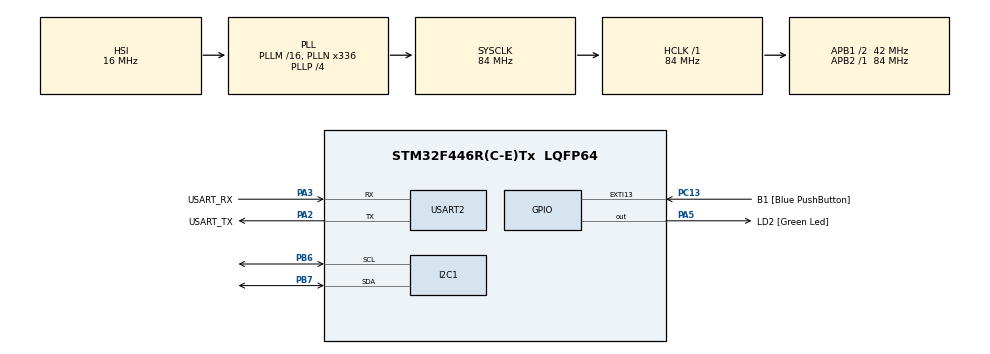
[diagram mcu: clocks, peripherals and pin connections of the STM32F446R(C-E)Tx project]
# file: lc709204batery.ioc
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I2C1.I2C_Mode=I2C_Fast
Mcu.Family=STM32F4
Mcu.Name=STM32F446R(C-E)Tx
Mcu.Package=LQFP64
NVIC.PriorityGroup=NVIC_PRIORITYGROUP_0
PA13.GPIO_Label=TMS
PA13.Mode=Serial_Wire
PA13.Signal=SYS_JTMS-SWDIO
PA14.GPIO_Label=TCK
PA14.Mode=Serial_Wire
PA14.Signal=SYS_JTCK-SWCLK
PA2.GPIO_Label=USART_TX
PA2.Mode=Asynchronous
PA2.Signal=USART2_TX
PA3.GPIO_Label=USART_RX
PA3.Mode=Asynchronous
PA3.Signal=USART2_RX
PA5.GPIO_Label=LD2 [Green Led]
PA5.Signal=GPIO_Output
PB3.GPIO_Label=SWO
PB3.Signal=SYS_JTDO-SWO
PB6.Mode=I2C
PB6.Signal=I2C1_SCL
PB7.Mode=I2C
PB7.Signal=I2C1_SDA
PC13.GPIO_Label=B1 [Blue PushButton]
PC13.GPIO_ModeDefaultEXTI=GPIO_MODE_IT_FALLING
PC13.Signal=GPXTI13
PC14-OSC32_IN.Mode=LSE-External-Oscillator
PC14-OSC32_IN.Signal=RCC_OSC32_IN
PC15-OSC32_OUT.Mode=LSE-External-Oscillator
PC15-OSC32_OUT.Signal=RCC_OSC32_OUT
PH0-OSC_IN.Mode=HSE-External-Oscillator
PH0-OSC_IN.Signal=RCC_OSC_IN
PH1-OSC_OUT.Mode=HSE-External-Oscillator
PH1-OSC_OUT.Signal=RCC_OSC_OUT
ProjectManager.HeapSize=0x200
ProjectManager.StackSize=0x400
ProjectManager.TargetToolchain=MDK-ARM V5.27
RCC.48MHZClocksFreq_Value=84000000
RCC.AHBFreq_Value=84000000
RCC.APB1CLKDivider=RCC_HCLK_DIV2
RCC.APB1Freq_Value=42000000
RCC.APB1TimFreq_Value=84000000
RCC.APB2Freq_Value=84000000
RCC.APB2TimFreq_Value=84000000
RCC.CortexFreq_Value=84000000
RCC.FLatency-AdvancedSettings=FLASH_LATENCY_2
RCC.HCLKFreq_Value=84000000
RCC.HSE_VALUE=8000000
RCC.HSI_VALUE=16000000
RCC.PLLN=336
RCC.PLLP=RCC_PLLP_DIV4
RCC.SYSCLKFreq_VALUE=84000000
RCC.SYSCLKSource=RCC_SYSCLKSOURCE_PLLCLK
RCC.USBFreq_Value=168000000
RCC.VCOOutputFreq_Value=336000000
USART2.VirtualMode=VM_ASYNC
board=NUCLEO-F446RE

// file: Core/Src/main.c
/* USER CODE BEGIN Header */
/**
  ******************************************************************************
  * @file           : main.c
  * @brief          : Main program body
  ******************************************************************************
  * @attention
  *
  * Copyright (c) 2023 STMicroelectronics.
  * All rights reserved.
  *
  * This software is licensed under terms that can be found in the LICENSE file
  * in the root directory of this software component.
  * If no LICENSE file comes with this software, it is provided AS-IS.
  *
  ******************************************************************************
  */
/* USER CODE END Header */
#include "main.h"
#include "stdbool.h"
#include "lc709.h"

I2C_HandleTypeDef hi2c1;

UART_HandleTypeDef huart2;

/* USER CODE BEGIN PV */

float		 voltage;
uint16_t timeEmpty;
uint16_t timeFull;
uint16_t pillPercent;
uint16_t stateHealth;
uint16_t circuitTemp;
uint16_t current;
/* USER CODE END PV */

void SystemClock_Config(void);
static void MX_GPIO_Init(void);
static void MX_I2C1_Init(void);
static void MX_USART2_UART_Init(void);

int main(void)

{

  /* MCU Configuration--------------------------------------------------------*/

  /* Reset of all peripherals, Initializes the Flash interface and the Systick. */
  HAL_Init();

  /* Configure the system clock */
  SystemClock_Config();

  /* Initialize all configured peripherals */
  MX_GPIO_Init();
  MX_I2C1_Init();
  MX_USART2_UART_Init();
  /* USER CODE BEGIN 2 */

		 for(int i=0; i<3; i++){
			HAL_GPIO_TogglePin(LD2_GPIO_Port, LD2_Pin);
			HAL_Delay(500);
		 }
	initRSOC();
  currentDirection(LC709204F_AUTO_MODE);
//	setPackAPA(0x2121);
	setPackSize(LC709204F_APA_500MAH);
  setBattProfile(0x0000);
  setAlarmRSOC(0x000F);
	setAlarmVoltage(2.9);
	setPowerMode(LC709204F_POWER_OPERATE);
  setTemperatureMode(LC709204F_TEMPERATURE_THERMISTOR);
	emptyCellVoltage(0x0000);
	setThermistorB(0x0F6E);
  /* USER CODE END 2 */

  /* Infinite loop */
  /* USER CODE BEGIN WHILE */
  while (1)
  {

		timeEmpty=timeToEmpty();
		timeFull=timeToFull();
		voltage=cellVoltage();
		pillPercent=cellPercent();
		circuitTemp=getCellTemperature();
		stateHealth=getStateOfHealth();
		readWord(LC709204F_CURRENT_DIR, &current);
		HAL_Delay(1000);

    /* USER CODE END WHILE */

  }
}

void SystemClock_Config(void)
{
  RCC_OscInitTypeDef RCC_OscInitStruct = {0};
  RCC_ClkInitTypeDef RCC_ClkInitStruct = {0};

  /** Configure the main internal regulator output voltage
  */
  __HAL_RCC_PWR_CLK_ENABLE();
  __HAL_PWR_VOLTAGESCALING_CONFIG(PWR_REGULATOR_VOLTAGE_SCALE3);

  /** Initializes the RCC Oscillators according to the specified parameters
  * in the RCC_OscInitTypeDef structure.
  */
  RCC_OscInitStruct.OscillatorType = RCC_OSCILLATORTYPE_HSI;
  RCC_OscInitStruct.HSIState = RCC_HSI_ON;
  RCC_OscInitStruct.HSICalibrationValue = RCC_HSICALIBRATION_DEFAULT;
  RCC_OscInitStruct.PLL.PLLState = RCC_PLL_ON;
  RCC_OscInitStruct.PLL.PLLSource = RCC_PLLSOURCE_HSI;
  RCC_OscInitStruct.PLL.PLLM = 16;
  RCC_OscInitStruct.PLL.PLLN = 336;
  RCC_OscInitStruct.PLL.PLLP = RCC_PLLP_DIV4;
  RCC_OscInitStruct.PLL.PLLQ = 2;
  RCC_OscInitStruct.PLL.PLLR = 2;
  if (HAL_RCC_OscConfig(&RCC_OscInitStruct) != HAL_OK)
  {
    Error_Handler();
  }

  /** Initializes the CPU, AHB and APB buses clocks
  */
  RCC_ClkInitStruct.ClockType = RCC_CLOCKTYPE_HCLK|RCC_CLOCKTYPE_SYSCLK
                              |RCC_CLOCKTYPE_PCLK1|RCC_CLOCKTYPE_PCLK2;
  RCC_ClkInitStruct.SYSCLKSource = RCC_SYSCLKSOURCE_PLLCLK;
  RCC_ClkInitStruct.AHBCLKDivider = RCC_SYSCLK_DIV1;
  RCC_ClkInitStruct.APB1CLKDivider = RCC_HCLK_DIV2;
  RCC_ClkInitStruct.APB2CLKDivider = RCC_HCLK_DIV1;

  if (HAL_RCC_ClockConfig(&RCC_ClkInitStruct, FLASH_LATENCY_2) != HAL_OK)
  {
    Error_Handler();
  }
}

static void MX_I2C1_Init(void)
{

  hi2c1.Instance = I2C1;
  hi2c1.Init.ClockSpeed = 400000;
  hi2c1.Init.DutyCycle = I2C_DUTYCYCLE_2;
  hi2c1.Init.OwnAddress1 = 0;
  hi2c1.Init.AddressingMode = I2C_ADDRESSINGMODE_7BIT;
  hi2c1.Init.DualAddressMode = I2C_DUALADDRESS_DISABLE;
  hi2c1.Init.OwnAddress2 = 0;
  hi2c1.Init.GeneralCallMode = I2C_GENERALCALL_DISABLE;
  hi2c1.Init.NoStretchMode = I2C_NOSTRETCH_DISABLE;
  if (HAL_I2C_Init(&hi2c1) != HAL_OK)
  {
    Error_Handler();
  }

}

static void MX_USART2_UART_Init(void)
{

  huart2.Instance = USART2;
  huart2.Init.BaudRate = 115200;
  huart2.Init.WordLength = UART_WORDLENGTH_8B;
  huart2.Init.StopBits = UART_STOPBITS_1;
  huart2.Init.Parity = UART_PARITY_NONE;
  huart2.Init.Mode = UART_MODE_TX_RX;
  huart2.Init.HwFlowCtl = UART_HWCONTROL_NONE;
  huart2.Init.OverSampling = UART_OVERSAMPLING_16;
  if (HAL_UART_Init(&huart2) != HAL_OK)
  {
    Error_Handler();
  }

}

static void MX_GPIO_Init(void)
{
  GPIO_InitTypeDef GPIO_InitStruct = {0};

  /* GPIO Ports Clock Enable */
  __HAL_RCC_GPIOC_CLK_ENABLE();
  __HAL_RCC_GPIOH_CLK_ENABLE();
  __HAL_RCC_GPIOA_CLK_ENABLE();
  __HAL_RCC_GPIOB_CLK_ENABLE();

  /*Configure GPIO pin Output Level */
  HAL_GPIO_WritePin(LD2_GPIO_Port, LD2_Pin, GPIO_PIN_RESET);

  /*Configure GPIO pin : B1_Pin */
  GPIO_InitStruct.Pin = B1_Pin;
  GPIO_InitStruct.Mode = GPIO_MODE_IT_FALLING;
  GPIO_InitStruct.Pull = GPIO_NOPULL;
  HAL_GPIO_Init(B1_GPIO_Port, &GPIO_InitStruct);

  /*Configure GPIO pin : LD2_Pin */
  GPIO_InitStruct.Pin = LD2_Pin;
  GPIO_InitStruct.Mode = GPIO_MODE_OUTPUT_PP;
  GPIO_InitStruct.Pull = GPIO_NOPULL;
  GPIO_InitStruct.Speed = GPIO_SPEED_FREQ_LOW;
  HAL_GPIO_Init(LD2_GPIO_Port, &GPIO_InitStruct);

}

void Error_Handler(void)
{
  __disable_irq();
  while (1)
  {
  }
}
